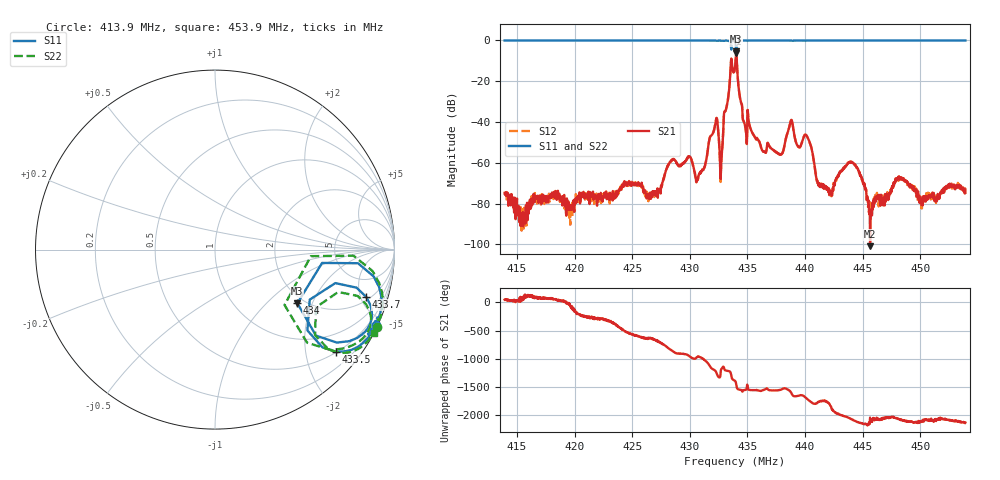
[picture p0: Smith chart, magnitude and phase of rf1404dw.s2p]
!RF1404D Cal'd @ device
# HZ S RI R 50
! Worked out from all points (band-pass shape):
!   1601 points, 413.9 MHz to 453.9 MHz, reference 50 ohm
!   highest |S21| = -6.22 dB at 434 MHz (marker M1); lowest = -100.9 dB at 445.6 MHz (marker M2)
!   |S21| within 3 dB of the highest: 433.592 MHz to 433.6061 MHz (14.06 kHz wide, 0.00324 % of centre); 433.982 MHz to 434.0676 MHz (85.54 kHz wide, 0.0197 % of centre)
!   lowest |S11| = -5.2 dB at 434 MHz (marker M3), VSWR 3.42, Z = 91.6 - j78.2 ohm
!   |S11| at or under -10 dB: nowhere
!   |S22| runs from -6.1 to 0.0 dB; largest |S21 - S12| = 0.015
!   S11 on the Smith chart (normalised r, x): 413.9 MHz: 0.08, -4.50; 433.5 MHz: 0.51, -2.65; 433.7 MHz: 2.32, -5.59; 434 MHz: 1.83, -1.56; 453.9 MHz: 0.08, -4.11
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4.1392e8  0.8993 -0.4202  0.000129 0.000131  0.0001 0.000132  0.9012 -0.4307
4.20595e8  0.8961 -0.4283  -0.000113 0.000123  -9.1e-05 0.000125  0.8981 -0.4382
4.2727e8  0.8901 -0.4388  0.00017 9.99e-05  0.000152 0.000113  0.8933 -0.4493
4.28495e8  0.8882 -0.4407  -0.000923 -0.000741  -0.000945 -0.000776  0.8916 -0.4517
4.30695e8  0.8842 -0.4472  -0.000199 0.000334  -0.000249 0.000358  0.8884 -0.4589
4.32245e8  0.8682 -0.4628  -0.00807 -0.00638  -0.00801 -0.00651  0.8715 -0.4754
4.32695e8  0.868 -0.4659  -0.000333 -0.000498  -0.000307 -0.000508  0.8732 -0.477
4.3352e8  0.6747 -0.5694  -0.1504 -0.0648  -0.1537 -0.068  0.7006 -0.5762
4.3367e8  0.8431 -0.2645  0.00267 0.2406  0.000946 0.2392  0.8431 -0.306
4.3392e8  0.7917 -0.4924  0.1317 0.1701  0.132 0.174  0.7742 -0.5292
4.3402e8  0.4589 -0.299  0.4879 -0.0293  0.4882 -0.0446  0.3875 -0.3087
4.3477e8  0.9067 -0.399  -0.00301 -0.00802  -0.00288 -0.00803  0.9119 -0.4083
4.36395e8  0.8943 -0.427  -0.000694 -0.00177  -0.000626 -0.0018  0.899 -0.4373
4.37945e8  0.8888 -0.436  -0.000298 -0.00159  -0.000301 -0.00156  0.8928 -0.4467
4.3877e8  0.8806 -0.4371  -0.00932 -0.00538  -0.00931 -0.00552  0.8851 -0.4477
4.40595e8  0.8894 -0.4344  0.00187 0.000906  0.00183 0.000885  0.8923 -0.4445
4.4122e8  0.8892 -0.4379  0.000198 0.000177  0.000212 0.000237  0.8935 -0.4482
4.42245e8  0.8882 -0.4403  0.000134 -0.000121  0.000126 -8.16e-05  0.8923 -0.4508
4.4407e8  0.887 -0.4429  -4e-06 0.00102  4.6e-06 0.00102  0.8904 -0.4531
4.45645e8  0.8865 -0.446  -4.6e-06 7.8e-06  8.67e-05 8.89e-05  0.8896 -0.4557
4.4727e8  0.8849 -0.4478  -4.84e-05 0.000119  -0.000103 0.000122  0.8889 -0.4575
4.5392e8  0.8809 -0.455  0.000152 0.000103  0.000183 0.000124  0.8849 -0.4662
